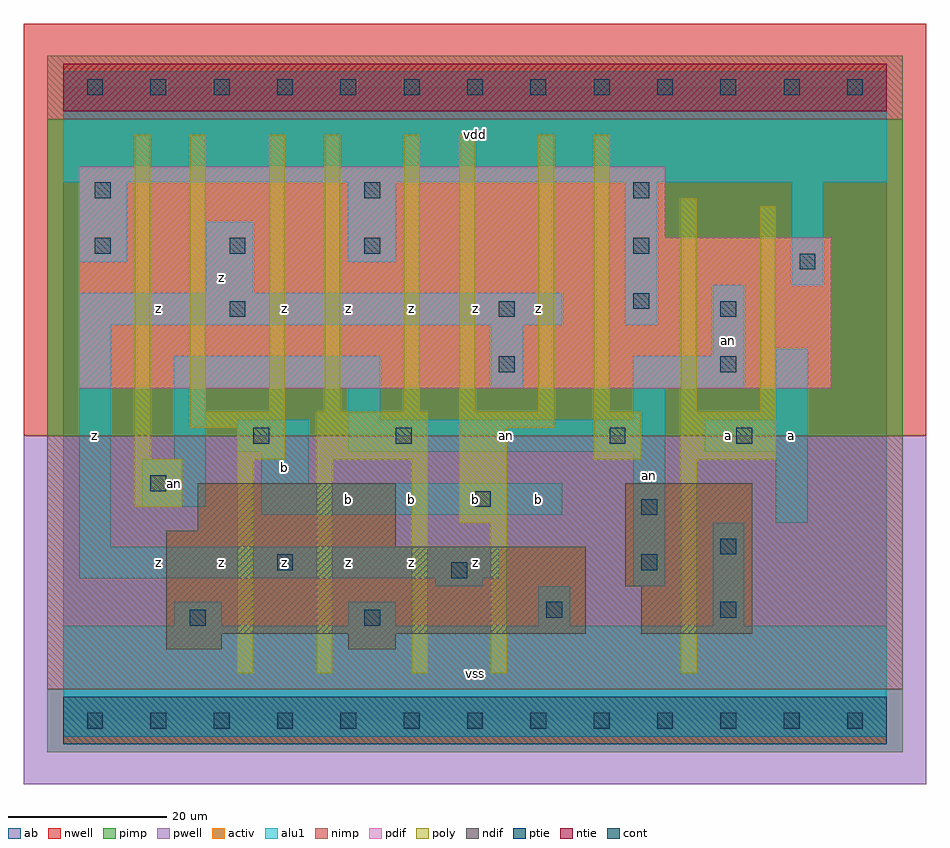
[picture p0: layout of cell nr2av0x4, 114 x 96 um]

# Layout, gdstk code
import gdstk
lib = gdstk.Library(unit=1e-6, precision=1e-09)
def R(c, l, rs):  # rectangles x0, y0, x1, y1
    for r in rs: c.add(gdstk.rectangle(r[:2], r[2:], *l))
def A(c, l, x, y, w, h, nx, ny, dx, dy):  # array of equal rectangles
    R(c, l, [(x+i*dx, y+j*dy, x+i*dx+w, y+j*dy+h) for i in range(nx) for j in range(ny)])
ndif = (3, 0)
pdif = (4, 0)
ntie = (5, 0)
ptie = (6, 0)
cont = (25, 0)
pwell = (41, 0)
nwell = (42, 0)
activ = (43, 0)
pimp = (44, 0)
nimp = (45, 0)
poly = (46, 0)
alu1 = (49, 0)
ab = (63, 0)

nr2av0x4 = lib.new_cell('nr2av0x4')
R(nr2av0x4, ndif, [(13,9,20,11), (36,9,42,11), (13,11,66,22), (73,11,87,17), (71,17,87,30), (13,22,42,24), (17,24,42,30)])
R(nr2av0x4, pdif, [(2,42,97,61), (2,61,76,70)])
R(nr2av0x4, ntie, [(0,77,104,83)])
R(nr2av0x4, ptie, [(0,-3,104,3)])
A(nr2av0x4, cont, 3, -1, 2, 2, 13, 2, 8, 80)
A(nr2av0x4, cont, 4, 59, 2, 2, 3, 1, 17, 0)
A(nr2av0x4, cont, 4, 66, 2, 2, 3, 1, 34, 0)
R(nr2av0x4, cont, [(16,12,18,14), (38,12,40,14), (61,13,63,15), (83,13,85,15), (49,18,51,20), (27,19,29,21), (73,19,75,21), (83,21,85,23), (73,26,75,28), (52,27,54,29), (11,29,13,31), (24,35,26,37), (42,35,44,37), (69,35,71,37), (85,35,87,37), (55,44,57,46), (83,44,85,46), (21,51,23,53), (55,51,57,53), (83,51,85,53), (72,52,74,54), (93,57,95,59), (72,59,74,61)])
R(nr2av0x4, pwell, [(-5,-8,109,36)])
R(nr2av0x4, nwell, [(-5,36,109,88)])
R(nr2av0x4, activ, [(0,-3,104,3), (13,9,20,11), (36,9,42,11), (13,11,66,22), (73,11,87,17), (71,17,87,30), (13,22,42,24), (17,24,42,30), (2,42,97,61), (2,61,76,70), (0,77,104,83)])
R(nr2av0x4, pimp, [(-2,-4,106,4), (-2,36,106,76)])
R(nr2av0x4, nimp, [(-2,4,106,36), (-2,76,106,84)])
R(nr2av0x4, poly, [(22,6,24,33), (32,6,34,33), (44,6,46,33), (54,6,56,25), (78,6,80,33), (50,25,56,37), (9,27,15,33), (9,33,11,74), (22,33,28,37), (32,33,46,39), (67,33,73,39), (78,33,90,39), (16,37,28,39), (50,37,62,39), (16,39,18,74), (26,39,28,74), (33,39,35,74), (43,39,45,74), (50,39,52,74), (60,39,62,74), (67,39,69,74), (78,39,80,66), (88,39,90,65)])
R(nr2av0x4, alu1, [(0,-2,104,12), (14,12,20,15), (36,12,42,15), (60,12,64,17), (82,12,86,25), (47,17,53,18), (72,17,76,34), (2,18,55,22), (2,22,6,50), (90,25,94,34), (25,26,63,30), (10,27,18,33), (25,30,31,34), (14,33,18,42), (22,34,31,38), (36,34,76,38), (81,34,94,38), (36,38,40,42), (72,38,76,42), (90,38,94,47), (14,42,40,46), (54,42,58,50), (72,42,86,46), (82,46,86,55), (2,50,63,54), (71,50,75,68), (18,54,24,63), (92,55,96,68), (2,58,8,68), (36,58,42,68), (0,68,104,82)])
R(nr2av0x4, ab, [(0,0,104,80)])
nr2av0x4.add(gdstk.Label('an', (14,30), layer=49, texttype=0))
nr2av0x4.add(gdstk.Label('an', (56,36), layer=49, texttype=0))
nr2av0x4.add(gdstk.Label('an', (74,31), layer=49, texttype=0))
nr2av0x4.add(gdstk.Label('an', (84,48), layer=49, texttype=0))
nr2av0x4.add(gdstk.Label('z', (12,20), layer=49, texttype=0))
nr2av0x4.add(gdstk.Label('z', (20,20), layer=49, texttype=0))
nr2av0x4.add(gdstk.Label('z', (4,36), layer=49, texttype=0))
nr2av0x4.add(gdstk.Label('z', (20,56), layer=49, texttype=0))
nr2av0x4.add(gdstk.Label('z', (12,52), layer=49, texttype=0))
nr2av0x4.add(gdstk.Label('z', (36,20), layer=49, texttype=0))
nr2av0x4.add(gdstk.Label('z', (44,20), layer=49, texttype=0))
nr2av0x4.add(gdstk.Label('z', (28,20), layer=49, texttype=0))
nr2av0x4.add(gdstk.Label('b', (28,32), layer=49, texttype=0))
nr2av0x4.add(gdstk.Label('b', (44,28), layer=49, texttype=0))
nr2av0x4.add(gdstk.Label('b', (36,28), layer=49, texttype=0))
nr2av0x4.add(gdstk.Label('z', (28,52), layer=49, texttype=0))
nr2av0x4.add(gdstk.Label('z', (44,52), layer=49, texttype=0))
nr2av0x4.add(gdstk.Label('z', (36,52), layer=49, texttype=0))
nr2av0x4.add(gdstk.Label('vss', (52,6), layer=49, texttype=0))
nr2av0x4.add(gdstk.Label('z', (52,20), layer=49, texttype=0))
nr2av0x4.add(gdstk.Label('b', (52,28), layer=49, texttype=0))
nr2av0x4.add(gdstk.Label('b', (60,28), layer=49, texttype=0))
nr2av0x4.add(gdstk.Label('z', (52,52), layer=49, texttype=0))
nr2av0x4.add(gdstk.Label('z', (60,52), layer=49, texttype=0))
nr2av0x4.add(gdstk.Label('vdd', (52,74), layer=49, texttype=0))
nr2av0x4.add(gdstk.Label('a', (84,36), layer=49, texttype=0))
nr2av0x4.add(gdstk.Label('a', (92,36), layer=49, texttype=0))

lib.write_gds('nr2av0x4.gds')
